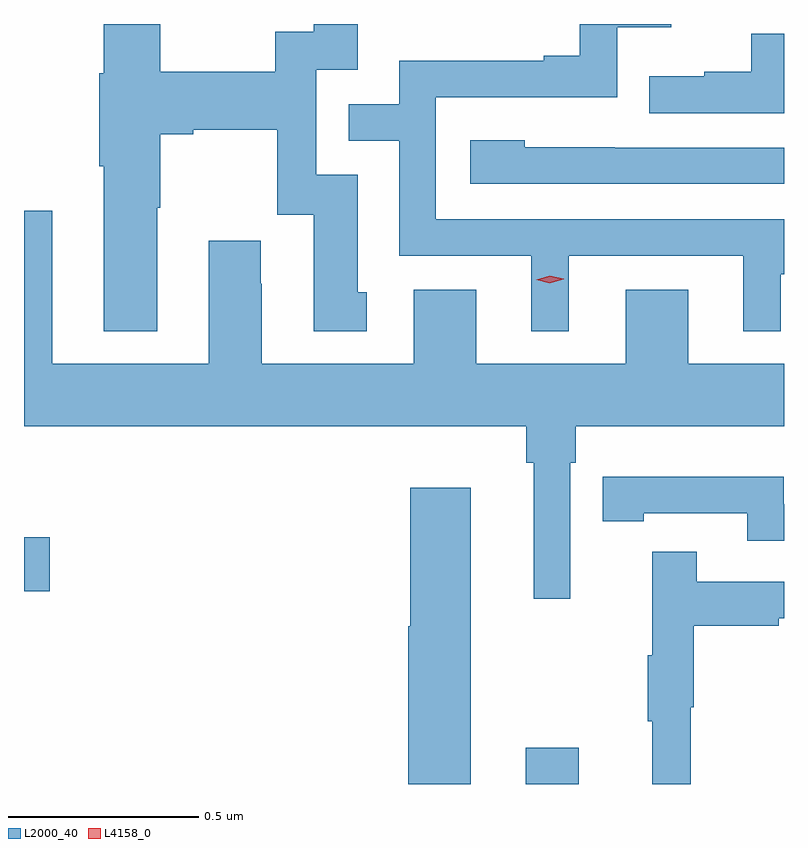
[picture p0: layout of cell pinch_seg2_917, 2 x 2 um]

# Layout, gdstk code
import gdstk
lib = gdstk.Library(unit=1e-6, precision=1e-09)
def R(c, l, rs):  # rectangles x0, y0, x1, y1
    for r in rs: c.add(gdstk.rectangle(r[:2], r[2:], *l))
def P(c, l, *ps):  # polygons
    for p in ps: c.add(gdstk.Polygon(p, *l))
L2000_40 = (2000, 40)
L4158_0 = (4158, 0)

pinch_seg2_917 = lib.new_cell('pinch_seg2_917')
R(pinch_seg2_917, L2000_40, [(424.061,617.39,424.201,617.485), (422.741,617.897,422.809,618.039)])
P(pinch_seg2_917, L2000_40, [(423.091,618.907),(423.099,618.907),(423.099,619.1),(423.187,619.1),(423.187,619.112),(423.407,619.112),(423.407,618.888),(423.503,618.888),(423.503,618.582),(423.643,618.582),(423.643,618.684),(423.619,618.684),(423.619,618.993),(423.51,618.993),(423.51,619.269),(423.619,619.269),(423.619,619.39),(423.503,619.39),(423.503,619.37),(423.402,619.37),(423.402,619.264),(423.099,619.264),(423.099,619.39),(422.951,619.39),(422.951,619.26),(422.939,619.26),(422.939,619.016),(422.951,619.016),(422.951,618.581),(423.091,618.581)],
  [(424.174,618.78),(424.634,618.78),(424.634,618.581),(424.732,618.581),(424.732,618.732),(424.741,618.732),(424.741,618.876),(423.825,618.876),(423.825,619.197),(424.302,619.197),(424.302,619.382),(424.444,619.382),(424.444,619.39),(424.204,619.39),(424.204,619.306),(424.109,619.306),(424.109,619.293),(423.729,619.293),(423.729,619.179),(423.595,619.179),(423.595,619.083),(423.729,619.083),(423.729,618.78),(424.076,618.78),(424.076,618.581),(424.174,618.581)],
  [(424.741,619.365),(424.655,619.365),(424.655,619.264),(424.531,619.264),(424.531,619.252),(424.387,619.252),(424.387,619.155),(424.741,619.155)],
  [(424.741,619.065),(424.295,619.065),(424.295,619.066),(424.059,619.066),(424.059,619.084),(423.915,619.084),(423.915,618.969),(424.741,618.969)],
  [(424.179,618.236),(424.193,618.236),(424.193,618.332),(424.741,618.332),(424.741,618.496),(424.489,618.496),(424.489,618.691),(424.325,618.691),(424.325,618.496),(423.931,618.496),(423.931,618.691),(423.767,618.691),(423.767,618.496),(423.367,618.496),(423.367,618.707),(423.364,618.707),(423.364,618.82),(423.227,618.82),(423.227,618.496),(422.815,618.496),(422.815,618.898),(422.741,618.898),(422.741,618.332),(424.063,618.332),(424.063,618.236),(424.082,618.236),(424.082,617.877),(424.179,617.877)],
  [(424.741,618.126),(424.74,618.126),(424.74,618.199),(424.372,618.199),(424.372,618.198),(424.264,618.198),(424.264,618.082),(424.372,618.082),(424.372,618.102),(424.644,618.102),(424.644,618.03),(424.741,618.03)],
  [(423.916,618.169),(423.758,618.169),(423.758,617.805),(423.752,617.805),(423.752,617.39),(423.916,617.39)],
  [(424.496,617.592),(424.504,617.592),(424.504,617.806),(424.727,617.806),(424.727,617.826),(424.741,617.826),(424.741,617.922),(424.511,617.922),(424.511,618.001),(424.394,618.001),(424.394,617.729),(424.383,617.729),(424.383,617.555),(424.394,617.555),(424.394,617.39),(424.496,617.39)])
P(pinch_seg2_917, L4158_0, [(424.125,618.708),(424.089,618.717),(424.089,618.717),(424.089,618.717),(424.125,618.728),(424.161,618.719),(424.161,618.718),(424.161,618.718)])

lib.write_gds('pinch_seg2_917.gds')
